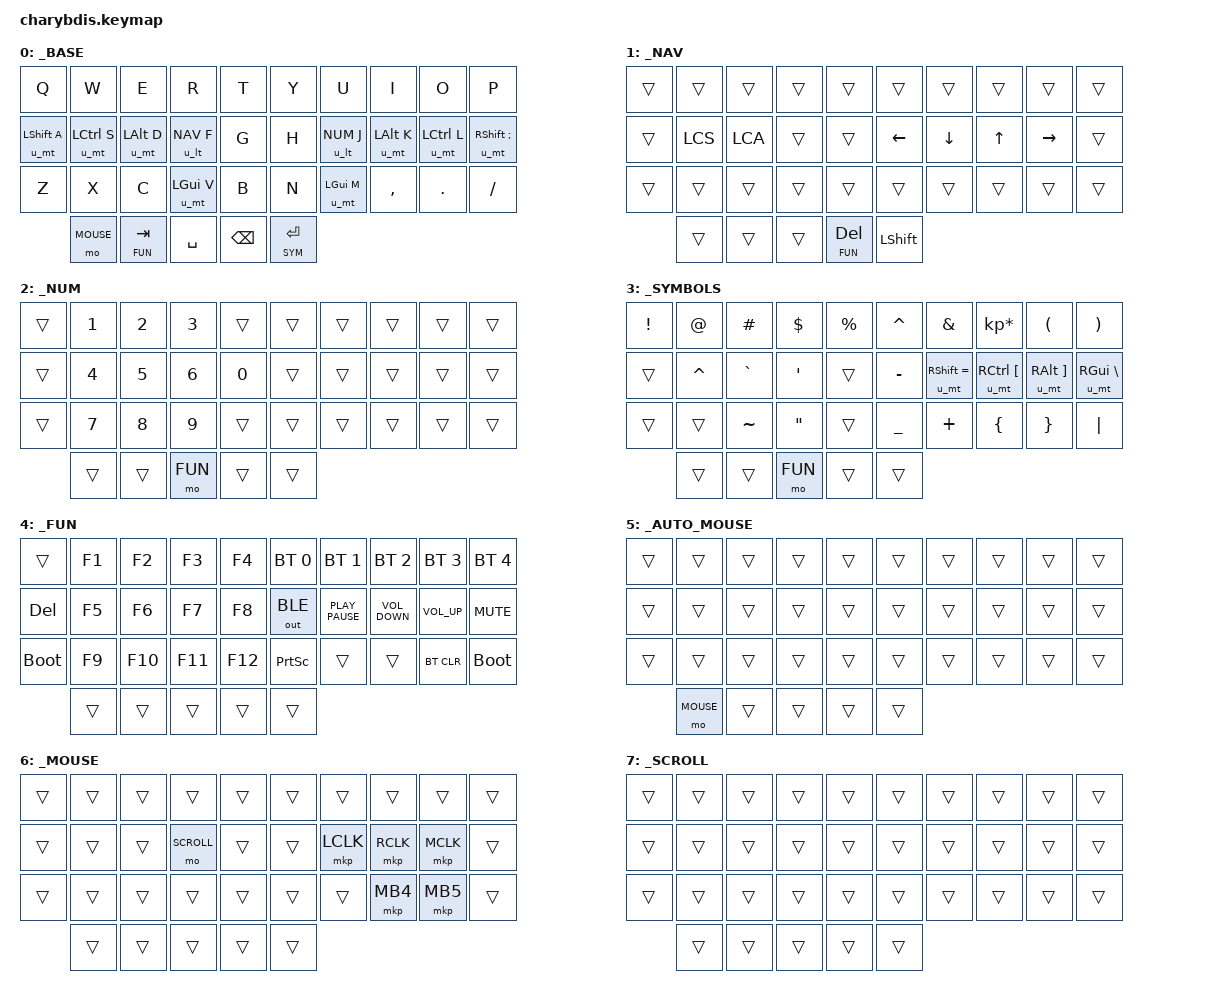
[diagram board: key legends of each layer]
#include <behaviors/mouse_keys.dtsi>
#include <behaviors.dtsi>
#include <dt-bindings/zmk/bt.h>
#include <dt-bindings/zmk/keys.h>
#include <dt-bindings/zmk/mouse.h>
#include <dt-bindings/zmk/outputs.h>

#include "keycodes.h"

#include "behaviors.dtsi"
#include "extras.dtsi"


// layers
#define BASE 0
#define NAV 1
#define NUM 2
#define SYM 3
#define FUN 4

// mouse
#define AUTOMOUSE 5
#define MOUSE 6
#define SCROLL 7

/ {
    chosen { zmk,matrix_transform = &default_transform; };
};

/ {

    combos {
      #include "combos.dtsi"
    };

/*           35 Keys
╭──────────────╮ ╭──────────────╮
│ 0  1  2  3  4│ │ 5  6  7  8  9│
│10 11 12 13 14│ │15 16 17 18 19│
│20 21 22 23 24│ │25 26 27 28 29│
╰─────╮30 31 32│ │33 34╭────────╯
      ╰────────╯ ╰─────╯         */
    keymap {
        compatible = "zmk,keymap";
         

        _BASE {
            bindings = <
            &kp Q             &kp W             &kp E          &kp R                 &kp T          &kp Y  &kp U               &kp I          &kp O            &kp P               
            &u_mt LSHFT A     &u_mt LCTRL S     &u_mt LALT D   &u_lt NAV F           &kp G          &kp H  &u_lt NUM J           &u_mt LALT K          &u_mt LCTRL L            &u_mt RSHFT SEMICOLON
            &kp Z             &kp X             &kp C          &u_mt LGUI V          &kp B          &kp N  &u_mt LGUI M          &kp COMMA      &kp DOT          &kp FSLH           
                              &mo MOUSE         &lt FUN TAB    &kp SPACE             &kp BACKSPACE  &lt SYM RET
            >;
        };

        _NAV {
            bindings = <
              &trans  &trans  &trans     &trans  &trans       &trans    &trans    &trans     &trans    &trans
              &trans  &kp LCS  &kp LCA     &trans  &trans       &kp LEFT  &kp DOWN  &kp UP     &kp RIGHT &trans
              &trans  &trans  &trans     &trans  &trans       &trans    &trans    &trans     &trans    &trans
                            &trans     &trans  &trans    &lt FUN DELETE  &kp LSHFT
            >;
        };

        _NUM {
            bindings = <
              &trans  &kp N1  &kp N2     &kp N3   &trans       &trans    &trans    &trans     &trans    &trans
              &trans  &kp N4  &kp N5     &kp N6   &kp N0        &trans    &trans    &trans     &trans    &trans
              &trans  &kp N7  &kp N8     &kp N9   &trans       &trans    &trans    &trans     &trans    &trans
                              &trans     &trans   &mo FUN     &trans     &trans
            >;
        };

        _SYMBOLS {
            bindings = <
&kp EXCL      &kp AT       &kp HASH    &kp DLLR  &kp PRCNT    &kp CARET  &kp AMPS                 &kp KP_MULTIPLY   &kp LPAR              &kp RPAR              
&trans        &kp CARET    &kp GRAVE   &kp SQT   &trans       &kp MINUS  &u_mt RIGHT_SHIFT EQUAL  &u_mt RCTRL LBKT  &u_mt RIGHT_ALT RBKT  &u_mt RIGHT_GUI BSLH  
&trans        &trans       &kp TILDE   &kp DQT    &trans       &kp UNDER  &kp PLUS                 &kp LBRC          &kp RBRC              &kp PIPE             
                                       &trans      &trans    &mo FUN        &trans     &trans
            >;
        };

        _FUN {
            bindings = <
&trans   &kp F1  &kp F2   &kp F3   &kp F4     &bt BT_SEL 0  &bt BT_SEL 1      &bt BT_SEL 2       &bt BT_SEL 3     &bt BT_SEL 4  
&kp DEL  &kp F5  &kp F6   &kp F7   &kp F8     &out OUT_BLE  &kp K_PLAY_PAUSE  &kp C_VOLUME_DOWN  &kp C_VOLUME_UP  &kp C_MUTE    
&bootloader   &kp F9  &kp F10  &kp F11  &kp F12    &kp PRINTSCREEN        &trans            &trans        &bt BT_CLR         &bootloader
                         &trans   &trans   &trans     &trans        &trans
            >;
        };

        _AUTO_MOUSE {
            bindings = <
&trans  &trans  &trans     &trans  &trans       &trans  &trans  &trans  &trans  &trans  
&trans  &trans  &trans     &trans  &trans       &trans  &trans  &trans  &trans  &trans  
&trans  &trans  &trans     &trans  &trans       &trans  &trans  &trans  &trans  &trans  
                &mo MOUSE  &trans  &trans       &trans  &trans
            >;
        };

        _MOUSE {
            bindings = <
&trans  &trans  &trans     &trans  &trans       &trans  &trans  &trans  &trans  &trans  
&trans  &trans  &trans     &mo SCROLL  &trans       &trans  &mkp LCLK &mkp RCLK  &mkp MCLK  &trans  
&trans  &trans  &trans     &trans  &trans       &trans  &trans  &mkp MB4  &mkp MB5  &trans  
                   &trans  &trans  &trans       &trans  &trans
            >;
        };

        _SCROLL {
            bindings = <
&trans  &trans  &trans  &trans  &trans    &trans  &trans  &trans  &trans  &trans  
&trans  &trans  &trans  &trans  &trans    &trans  &trans  &trans  &trans  &trans  
&trans  &trans  &trans  &trans  &trans    &trans  &trans  &trans  &trans  &trans  
                        &trans  &trans  &trans    &trans  &trans
            >;
        };

    };
};


